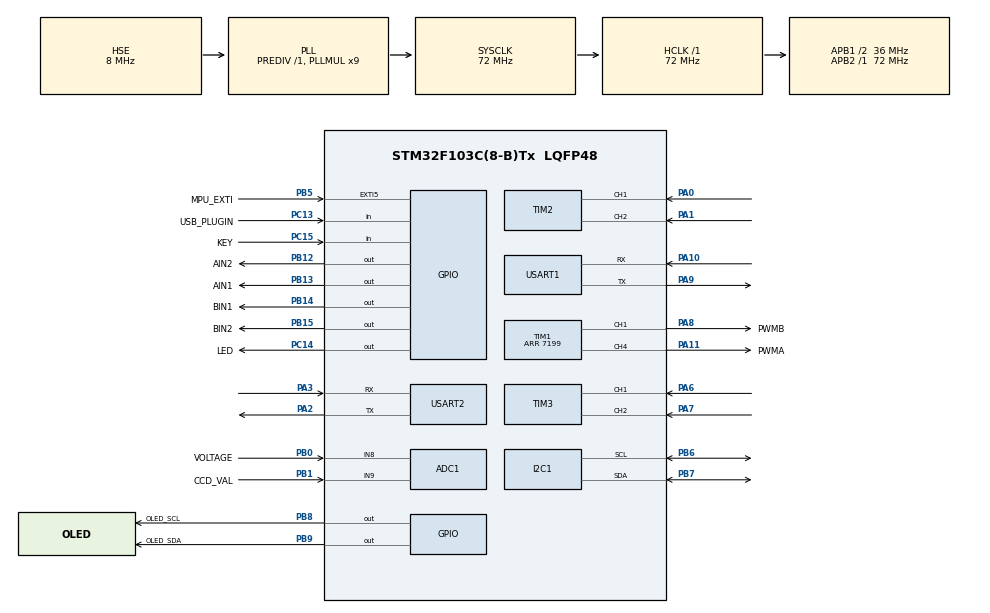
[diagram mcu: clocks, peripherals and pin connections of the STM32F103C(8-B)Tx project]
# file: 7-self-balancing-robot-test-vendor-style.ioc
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ADC1.Channel-1\#ChannelRegularConversion=ADC_CHANNEL_8
ADC1.ContinuousConvMode=ENABLE
ADC1.NbrOfConversionFlag=1
ADC1.Rank-1\#ChannelRegularConversion=1
ADC1.SamplingTime-1\#ChannelRegularConversion=ADC_SAMPLETIME_239CYCLES_5
ADC1.master=1
I2C1.I2C_Mode=I2C_Fast
Mcu.Family=STM32F1
Mcu.Name=STM32F103C(8-B)Tx
Mcu.Package=LQFP48
NVIC.EXTI9_5_IRQn=true\:2\:0\:true\:false\:true\:true\:true\:true
NVIC.PriorityGroup=NVIC_PRIORITYGROUP_4
NVIC.TIM2_IRQn=true\:3\:0\:true\:false\:true\:true\:true\:true
NVIC.TIM3_IRQn=true\:3\:0\:true\:false\:true\:true\:true\:true
PA0-WKUP.Signal=S_TIM2_CH1_ETR
PA1.Signal=S_TIM2_CH2
PA10.Mode=Asynchronous
PA10.Signal=USART1_RX
PA11.GPIO_Label=PWMA
PA11.Signal=S_TIM1_CH4
PA2.Mode=Asynchronous
PA2.Signal=USART2_TX
PA3.Mode=Asynchronous
PA3.Signal=USART2_RX
PA6.Signal=S_TIM3_CH1
PA7.Signal=S_TIM3_CH2
PA8.GPIO_Label=PWMB
PA8.Signal=S_TIM1_CH1
PA9.Mode=Asynchronous
PA9.Signal=USART1_TX
PB0.GPIO_Label=VOLTAGE
PB0.Signal=ADCx_IN8
PB1.GPIO_Label=CCD_VAL
PB1.Signal=ADCx_IN9
PB12.GPIO_Label=AIN2
PB12.GPIO_Speed=GPIO_SPEED_FREQ_MEDIUM
PB12.Signal=GPIO_Output
PB13.GPIO_Label=AIN1
PB13.GPIO_Speed=GPIO_SPEED_FREQ_MEDIUM
PB13.Signal=GPIO_Output
PB14.GPIO_Label=BIN1
PB14.GPIO_Speed=GPIO_SPEED_FREQ_MEDIUM
PB14.Signal=GPIO_Output
PB15.GPIO_Label=BIN2
PB15.GPIO_Speed=GPIO_SPEED_FREQ_MEDIUM
PB15.Signal=GPIO_Output
PB5.GPIO_Label=MPU_EXTI
PB5.GPIO_ModeDefaultEXTI=GPIO_MODE_IT_FALLING
PB5.GPIO_PuPd=GPIO_NOPULL
PB5.Signal=GPXTI5
PB6.Mode=I2C
PB6.Signal=I2C1_SCL
PB7.Mode=I2C
PB7.Signal=I2C1_SDA
PB8.GPIO_Label=OLED_SCL
PB8.GPIO_Speed=GPIO_SPEED_FREQ_HIGH
PB8.PinState=GPIO_PIN_RESET
PB8.Signal=GPIO_Output
PB9.GPIO_Label=OLED_SDA
PB9.GPIO_Speed=GPIO_SPEED_FREQ_HIGH
PB9.PinState=GPIO_PIN_RESET
PB9.Signal=GPIO_Output
PC13-TAMPER-RTC.GPIO_Label=USB_PLUGIN
PC13-TAMPER-RTC.Signal=GPIO_Input
PC14-OSC32_IN.GPIO_Label=LED
PC14-OSC32_IN.Signal=GPIO_Output
PC15-OSC32_OUT.GPIO_Label=KEY
PC15-OSC32_OUT.Signal=GPIO_Input
PD0-OSC_IN.Mode=HSE-External-Oscillator
PD0-OSC_IN.Signal=RCC_OSC_IN
PD1-OSC_OUT.Mode=HSE-External-Oscillator
PD1-OSC_OUT.Signal=RCC_OSC_OUT
ProjectManager.HeapSize=0x200
ProjectManager.StackSize=0x400
ProjectManager.TargetToolchain=STM32CubeIDE
RCC.ADCPresc=RCC_ADCPCLK2_DIV6
RCC.AHBFreq_Value=72000000
RCC.APB1CLKDivider=RCC_HCLK_DIV2
RCC.APB1Freq_Value=36000000
RCC.APB1TimFreq_Value=72000000
RCC.APB2Freq_Value=72000000
RCC.APB2TimFreq_Value=72000000
RCC.HCLKFreq_Value=72000000
RCC.PLLMUL=RCC_PLL_MUL9
RCC.PLLSourceVirtual=RCC_PLLSOURCE_HSE
RCC.SYSCLKFreq_VALUE=72000000
RCC.SYSCLKSource=RCC_SYSCLKSOURCE_PLLCLK
RCC.USBFreq_Value=72000000
SH.ADCx_IN8.0=ADC1_IN8,IN8
SH.ADCx_IN9.0=ADC1_IN9,IN9
SH.S_TIM1_CH1.0=TIM1_CH1,PWM Generation1 CH1
SH.S_TIM1_CH4.0=TIM1_CH4,PWM Generation4 CH4
SH.S_TIM2_CH1_ETR.0=TIM2_CH1,Encoder_Interface
SH.S_TIM2_CH2.0=TIM2_CH2,Encoder_Interface
SH.S_TIM3_CH1.0=TIM3_CH1,Encoder_Interface
SH.S_TIM3_CH2.0=TIM3_CH2,Encoder_Interface
TIM1.AutoReloadPreload=TIM_AUTORELOAD_PRELOAD_DISABLE
TIM1.Channel-PWM\ Generation1\ CH1=TIM_CHANNEL_1
TIM1.Channel-PWM\ Generation4\ CH4=TIM_CHANNEL_4
TIM1.Period=7199
TIM2.EncoderMode=TIM_ENCODERMODE_TI12
TIM2.IC1Filter=10
TIM2.IC2Filter=10
TIM3.EncoderMode=TIM_ENCODERMODE_TI12
TIM3.IC1Filter=10
TIM3.IC2Filter=10
USART1.VirtualMode=VM_ASYNC
USART2.VirtualMode=VM_ASYNC
VP_SYS_VS_ND.Mode=No_Debug
VP_TIM1_VS_ClockSourceINT.Mode=Internal
board=custom

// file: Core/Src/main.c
/* USER CODE BEGIN Header */
/**
  ******************************************************************************
  * @file           : main.c
  * @brief          : Main program body
  ******************************************************************************
  * @attention
  *
  * Copyright (c) 2026 STMicroelectronics.
  * All rights reserved.
  *
  * This software is licensed under terms that can be found in the LICENSE file
  * in the root directory of this software component.
  * If no LICENSE file comes with this software, it is provided AS-IS.
  *
  ******************************************************************************
  */
/* USER CODE END Header */
#include "main.h"

/* USER CODE BEGIN Includes */
#include "Hardware/robot_hal.h"
#include "Hardware/led.h"
#include "Hardware/key.h"
#include "Hardware/motor.h"
#include "Hardware/encoder.h"
#include "Hardware/adc.h"
#include "Hardware/mpu6050.h"
#include "Hardware/oled.h"
#include "Hardware/usart2.h"
#include "Hardware/control.h"
#include "Hardware/SR04.h"
#include "Hardware/PS2.h"
#include "Hardware/timer.h"
/* USER CODE END Includes */

/* USER CODE BEGIN PD */
#define DEBUG_MIRROR_TO_BLUETOOTH 1
#define BLUETOOTH_TELEMETRY 0

/* USER CODE END PD */

ADC_HandleTypeDef hadc1;

I2C_HandleTypeDef hi2c1;

TIM_HandleTypeDef htim1;
TIM_HandleTypeDef htim2;
TIM_HandleTypeDef htim3;

UART_HandleTypeDef huart1;
UART_HandleTypeDef huart2;

/* USER CODE BEGIN PV */
/* Global robot state */
float  Voltage       = 0.0f;
float  pitch = 0.0f, roll = 0.0f, yaw = 0.0f;
short  aacx = 0, aacy = 0, aacz = 0;
short  gyrox = 0, gyroy = 0, gyroz = 0;
float  SR04_Distance = 0.0f;
int    Encoder_Left = 0, Encoder_Right = 0;
int    Moto1 = 0, Moto2 = 0;
u8     CTRL_MODE = 98, Mode_Change = 0;
int    Uart_Receive = 0;
u8     TkSensor = 0;
int    PS2_LX = 0, PS2_LY = 0, PS2_RX = 0, PS2_RY = 0, PS2_KEY = 0;
u8     PS2_Plugin = 0;
/* USER CODE END PV */

void SystemClock_Config(void);
static void MX_GPIO_Init(void);
static void MX_ADC1_Init(void);
static void MX_I2C1_Init(void);
static void MX_TIM1_Init(void);
static void MX_TIM2_Init(void);
static void MX_TIM3_Init(void);
static void MX_USART2_UART_Init(void);
static void MX_USART1_UART_Init(void);

/* USER CODE BEGIN 0 */
#if BLUETOOTH_TELEMETRY
static char *append_str(char *dst, const char *src)
{
  while (*src) {
    *dst++ = *src++;
  }
  return dst;
}

static char *append_int(char *dst, int value)
{
  char tmp[16];
  int i = 0;
  unsigned int mag;

  if (value < 0) {
    *dst++ = '-';
    mag = (unsigned int)(-value);
  } else {
    mag = (unsigned int)value;
  }

  do {
    tmp[i++] = (char)('0' + (mag % 10U));
    mag /= 10U;
  } while (mag > 0U);

  while (i > 0) {
    *dst++ = tmp[--i];
  }
  return dst;
}
#endif

/* USER CODE END 0 */

int main(void)
{

  /* MCU Configuration--------------------------------------------------------*/

  /* Reset of all peripherals, Initializes the Flash interface and the Systick. */
  HAL_Init();

  /* Configure the system clock */
  SystemClock_Config();

  /* Initialize all configured peripherals */
  MX_GPIO_Init();
  MX_ADC1_Init();
  MX_I2C1_Init();
  MX_TIM1_Init();
  MX_TIM2_Init();
  MX_TIM3_Init();
  MX_USART2_UART_Init();
  MX_USART1_UART_Init();
  /* USER CODE BEGIN 2 */
  /* Enable USART interrupts for RX */
  HAL_NVIC_SetPriority(USART1_IRQn, 3, 0);
  HAL_NVIC_EnableIRQ(USART1_IRQn);
  HAL_NVIC_SetPriority(USART2_IRQn, 3, 0);
  HAL_NVIC_EnableIRQ(USART2_IRQn);

  /* Enable DWT cycle counter for delay_us() */
  CoreDebug->DEMCR |= CoreDebug_DEMCR_TRCENA_Msk;
  DWT->CYCCNT = 0;
  DWT->CTRL  |= DWT_CTRL_CYCCNTENA_Msk;

  /* Redirect printf to USART1 - fputc defined below in USER CODE 4 */

  /* Start encoder timers */
  Encoder_Start();

  /* Start TIM1 PWM channels for motor control */
  HAL_TIM_PWM_Start(&htim1, TIM_CHANNEL_1);   /* PWMA - PA8 */
  HAL_TIM_PWM_Start(&htim1, TIM_CHANNEL_4);   /* PWMB - PA11 */

  /* Calibrate and start ADC */
  Adc_Init();

  /* Initialise MPU6050 and DMP */
  MPU_Init();
  mpu_dmp_init();

  /* Motor initial state (no movement) */
  Motor_Init();

  HAL_Delay(1000);  /* Wait 1 s before enabling control interrupt */

  /* Mode-specific initialisation */
  Mode_Init();
  /* USER CODE END 2 */

  /* Infinite loop */
  while (1)
  {

    /* USER CODE BEGIN 3 */
    Bluetooth_Process();
    Bluetooth_DebugTask();

#if BLUETOOTH_TELEMETRY
    static uint32_t last_log_ms = 0;
    if ((HAL_GetTick() - last_log_ms) >= 200U) {
      char log_buf[96];
      char *p = log_buf;
      int pitch_centi = (int)(pitch * 100.0f);
      last_log_ms = HAL_GetTick();
      p = append_str(p, "mode=");
      p = append_int(p, (int)CTRL_MODE);
      p = append_str(p, " pitch_centi=");
      p = append_int(p, pitch_centi);
      p = append_str(p, " gy=");
      p = append_int(p, gyroy);
      p = append_str(p, " encL=");
      p = append_int(p, Encoder_Left);
      p = append_str(p, " encR=");
      p = append_int(p, Encoder_Right);
      p = append_str(p, " m1=");
      p = append_int(p, Moto1);
      p = append_str(p, " m2=");
      p = append_int(p, Moto2);
      p = append_str(p, "\r\n");
      *p = '\0';
      Uart2SendStr(log_buf);
    }
#endif

    if (Mode_Change) {
      Mode_Change = 0;
      Mode_Init();
    }
    oled_show();

    if (CTRL_MODE == 100) {
      PS2_LX  = PS2_AnologData(PSS_LX);
      PS2_LY  = PS2_AnologData(PSS_LY);
      PS2_RX  = PS2_AnologData(PSS_RX);
      PS2_RY  = PS2_AnologData(PSS_RY);
      PS2_KEY = PS2_DataKey();
      PS2_Plugin = (PS2_LX >= 250 && PS2_LY >= 250 && PS2_RX >= 250 && PS2_RY >= 250) ? 0 : 1;
    }
  }
  /* USER CODE END 3 */
}

void SystemClock_Config(void)
{
  RCC_OscInitTypeDef RCC_OscInitStruct = {0};
  RCC_ClkInitTypeDef RCC_ClkInitStruct = {0};
  RCC_PeriphCLKInitTypeDef PeriphClkInit = {0};

  /** Initializes the RCC Oscillators according to the specified parameters
  * in the RCC_OscInitTypeDef structure.
  */
  RCC_OscInitStruct.OscillatorType = RCC_OSCILLATORTYPE_HSE;
  RCC_OscInitStruct.HSEState = RCC_HSE_ON;
  RCC_OscInitStruct.HSEPredivValue = RCC_HSE_PREDIV_DIV1;
  RCC_OscInitStruct.HSIState = RCC_HSI_ON;
  RCC_OscInitStruct.PLL.PLLState = RCC_PLL_ON;
  RCC_OscInitStruct.PLL.PLLSource = RCC_PLLSOURCE_HSE;
  RCC_OscInitStruct.PLL.PLLMUL = RCC_PLL_MUL9;
  if (HAL_RCC_OscConfig(&RCC_OscInitStruct) != HAL_OK)
  {
    Error_Handler();
  }

  /** Initializes the CPU, AHB and APB buses clocks
  */
  RCC_ClkInitStruct.ClockType = RCC_CLOCKTYPE_HCLK|RCC_CLOCKTYPE_SYSCLK
                              |RCC_CLOCKTYPE_PCLK1|RCC_CLOCKTYPE_PCLK2;
  RCC_ClkInitStruct.SYSCLKSource = RCC_SYSCLKSOURCE_PLLCLK;
  RCC_ClkInitStruct.AHBCLKDivider = RCC_SYSCLK_DIV1;
  RCC_ClkInitStruct.APB1CLKDivider = RCC_HCLK_DIV2;
  RCC_ClkInitStruct.APB2CLKDivider = RCC_HCLK_DIV1;

  if (HAL_RCC_ClockConfig(&RCC_ClkInitStruct, FLASH_LATENCY_2) != HAL_OK)
  {
    Error_Handler();
  }
  PeriphClkInit.PeriphClockSelection = RCC_PERIPHCLK_ADC;
  PeriphClkInit.AdcClockSelection = RCC_ADCPCLK2_DIV6;
  if (HAL_RCCEx_PeriphCLKConfig(&PeriphClkInit) != HAL_OK)
  {
    Error_Handler();
  }
}

static void MX_ADC1_Init(void)
{

  ADC_ChannelConfTypeDef sConfig = {0};

  /** Common config
  */
  hadc1.Instance = ADC1;
  hadc1.Init.ScanConvMode = ADC_SCAN_DISABLE;
  hadc1.Init.ContinuousConvMode = ENABLE;
  hadc1.Init.DiscontinuousConvMode = DISABLE;
  hadc1.Init.ExternalTrigConv = ADC_SOFTWARE_START;
  hadc1.Init.DataAlign = ADC_DATAALIGN_RIGHT;
  hadc1.Init.NbrOfConversion = 1;
  if (HAL_ADC_Init(&hadc1) != HAL_OK)
  {
    Error_Handler();
  }

  /** Configure Regular Channel
  */
  sConfig.Channel = ADC_CHANNEL_8;
  sConfig.Rank = ADC_REGULAR_RANK_1;
  sConfig.SamplingTime = ADC_SAMPLETIME_239CYCLES_5;
  if (HAL_ADC_ConfigChannel(&hadc1, &sConfig) != HAL_OK)
  {
    Error_Handler();
  }

}

static void MX_I2C1_Init(void)
{

  hi2c1.Instance = I2C1;
  hi2c1.Init.ClockSpeed = 400000;
  hi2c1.Init.DutyCycle = I2C_DUTYCYCLE_2;
  hi2c1.Init.OwnAddress1 = 0;
  hi2c1.Init.AddressingMode = I2C_ADDRESSINGMODE_7BIT;
  hi2c1.Init.DualAddressMode = I2C_DUALADDRESS_DISABLE;
  hi2c1.Init.OwnAddress2 = 0;
  hi2c1.Init.GeneralCallMode = I2C_GENERALCALL_DISABLE;
  hi2c1.Init.NoStretchMode = I2C_NOSTRETCH_DISABLE;
  if (HAL_I2C_Init(&hi2c1) != HAL_OK)
  {
    Error_Handler();
  }

}

static void MX_TIM1_Init(void)
{

  TIM_ClockConfigTypeDef sClockSourceConfig = {0};
  TIM_MasterConfigTypeDef sMasterConfig = {0};
  TIM_OC_InitTypeDef sConfigOC = {0};
  TIM_BreakDeadTimeConfigTypeDef sBreakDeadTimeConfig = {0};

  htim1.Instance = TIM1;
  htim1.Init.Prescaler = 0;
  htim1.Init.CounterMode = TIM_COUNTERMODE_UP;
  htim1.Init.Period = 7199;
  htim1.Init.ClockDivision = TIM_CLOCKDIVISION_DIV1;
  htim1.Init.RepetitionCounter = 0;
  htim1.Init.AutoReloadPreload = TIM_AUTORELOAD_PRELOAD_DISABLE;
  if (HAL_TIM_Base_Init(&htim1) != HAL_OK)
  {
    Error_Handler();
  }
  sClockSourceConfig.ClockSource = TIM_CLOCKSOURCE_INTERNAL;
  if (HAL_TIM_ConfigClockSource(&htim1, &sClockSourceConfig) != HAL_OK)
  {
    Error_Handler();
  }
  if (HAL_TIM_PWM_Init(&htim1) != HAL_OK)
  {
    Error_Handler();
  }
  sMasterConfig.MasterOutputTrigger = TIM_TRGO_RESET;
  sMasterConfig.MasterSlaveMode = TIM_MASTERSLAVEMODE_DISABLE;
  if (HAL_TIMEx_MasterConfigSynchronization(&htim1, &sMasterConfig) != HAL_OK)
  {
    Error_Handler();
  }
  sConfigOC.OCMode = TIM_OCMODE_PWM1;
  sConfigOC.Pulse = 0;
  sConfigOC.OCPolarity = TIM_OCPOLARITY_HIGH;
  sConfigOC.OCNPolarity = TIM_OCNPOLARITY_HIGH;
  sConfigOC.OCFastMode = TIM_OCFAST_DISABLE;
  sConfigOC.OCIdleState = TIM_OCIDLESTATE_RESET;
  sConfigOC.OCNIdleState = TIM_OCNIDLESTATE_RESET;
  if (HAL_TIM_PWM_ConfigChannel(&htim1, &sConfigOC, TIM_CHANNEL_1) != HAL_OK)
  {
    Error_Handler();
  }
  if (HAL_TIM_PWM_ConfigChannel(&htim1, &sConfigOC, TIM_CHANNEL_4) != HAL_OK)
  {
    Error_Handler();
  }
  sBreakDeadTimeConfig.OffStateRunMode = TIM_OSSR_DISABLE;
  sBreakDeadTimeConfig.OffStateIDLEMode = TIM_OSSI_DISABLE;
  sBreakDeadTimeConfig.LockLevel = TIM_LOCKLEVEL_OFF;
  sBreakDeadTimeConfig.DeadTime = 0;
  sBreakDeadTimeConfig.BreakState = TIM_BREAK_DISABLE;
  sBreakDeadTimeConfig.BreakPolarity = TIM_BREAKPOLARITY_HIGH;
  sBreakDeadTimeConfig.AutomaticOutput = TIM_AUTOMATICOUTPUT_DISABLE;
  if (HAL_TIMEx_ConfigBreakDeadTime(&htim1, &sBreakDeadTimeConfig) != HAL_OK)
  {
    Error_Handler();
  }
  HAL_TIM_MspPostInit(&htim1);

}

static void MX_TIM2_Init(void)
{

  TIM_Encoder_InitTypeDef sConfig = {0};
  TIM_MasterConfigTypeDef sMasterConfig = {0};

  htim2.Instance = TIM2;
  htim2.Init.Prescaler = 0;
  htim2.Init.CounterMode = TIM_COUNTERMODE_UP;
  htim2.Init.Period = 65535;
  htim2.Init.ClockDivision = TIM_CLOCKDIVISION_DIV1;
  htim2.Init.AutoReloadPreload = TIM_AUTORELOAD_PRELOAD_DISABLE;
  sConfig.EncoderMode = TIM_ENCODERMODE_TI12;
  sConfig.IC1Polarity = TIM_ICPOLARITY_RISING;
  sConfig.IC1Selection = TIM_ICSELECTION_DIRECTTI;
  sConfig.IC1Prescaler = TIM_ICPSC_DIV1;
  sConfig.IC1Filter = 10;
  sConfig.IC2Polarity = TIM_ICPOLARITY_RISING;
  sConfig.IC2Selection = TIM_ICSELECTION_DIRECTTI;
  sConfig.IC2Prescaler = TIM_ICPSC_DIV1;
  sConfig.IC2Filter = 10;
  if (HAL_TIM_Encoder_Init(&htim2, &sConfig) != HAL_OK)
  {
    Error_Handler();
  }
  sMasterConfig.MasterOutputTrigger = TIM_TRGO_RESET;
  sMasterConfig.MasterSlaveMode = TIM_MASTERSLAVEMODE_DISABLE;
  if (HAL_TIMEx_MasterConfigSynchronization(&htim2, &sMasterConfig) != HAL_OK)
  {
    Error_Handler();
  }

}

static void MX_TIM3_Init(void)
{

  TIM_Encoder_InitTypeDef sConfig = {0};
  TIM_MasterConfigTypeDef sMasterConfig = {0};

  htim3.Instance = TIM3;
  htim3.Init.Prescaler = 0;
  htim3.Init.CounterMode = TIM_COUNTERMODE_UP;
  htim3.Init.Period = 65535;
  htim3.Init.ClockDivision = TIM_CLOCKDIVISION_DIV1;
  htim3.Init.AutoReloadPreload = TIM_AUTORELOAD_PRELOAD_DISABLE;
  sConfig.EncoderMode = TIM_ENCODERMODE_TI12;
  sConfig.IC1Polarity = TIM_ICPOLARITY_RISING;
  sConfig.IC1Selection = TIM_ICSELECTION_DIRECTTI;
  sConfig.IC1Prescaler = TIM_ICPSC_DIV1;
  sConfig.IC1Filter = 10;
  sConfig.IC2Polarity = TIM_ICPOLARITY_RISING;
  sConfig.IC2Selection = TIM_ICSELECTION_DIRECTTI;
  sConfig.IC2Prescaler = TIM_ICPSC_DIV1;
  sConfig.IC2Filter = 10;
  if (HAL_TIM_Encoder_Init(&htim3, &sConfig) != HAL_OK)
  {
    Error_Handler();
  }
  sMasterConfig.MasterOutputTrigger = TIM_TRGO_RESET;
  sMasterConfig.MasterSlaveMode = TIM_MASTERSLAVEMODE_DISABLE;
  if (HAL_TIMEx_MasterConfigSynchronization(&htim3, &sMasterConfig) != HAL_OK)
  {
    Error_Handler();
  }

}

static void MX_USART1_UART_Init(void)
{

  huart1.Instance = USART1;
  huart1.Init.BaudRate = 115200;
  huart1.Init.WordLength = UART_WORDLENGTH_8B;
  huart1.Init.StopBits = UART_STOPBITS_1;
  huart1.Init.Parity = UART_PARITY_NONE;
  huart1.Init.Mode = UART_MODE_TX_RX;
  huart1.Init.HwFlowCtl = UART_HWCONTROL_NONE;
  huart1.Init.OverSampling = UART_OVERSAMPLING_16;
  if (HAL_UART_Init(&huart1) != HAL_OK)
  {
    Error_Handler();
  }

}

static void MX_USART2_UART_Init(void)
{

  huart2.Instance = USART2;
  huart2.Init.BaudRate = 9600;
  huart2.Init.WordLength = UART_WORDLENGTH_8B;
  huart2.Init.StopBits = UART_STOPBITS_1;
  huart2.Init.Parity = UART_PARITY_NONE;
  huart2.Init.Mode = UART_MODE_TX_RX;
  huart2.Init.HwFlowCtl = UART_HWCONTROL_NONE;
  huart2.Init.OverSampling = UART_OVERSAMPLING_16;
  if (HAL_UART_Init(&huart2) != HAL_OK)
  {
    Error_Handler();
  }

}

static void MX_GPIO_Init(void)
{
  GPIO_InitTypeDef GPIO_InitStruct = {0};

  /* GPIO Ports Clock Enable */
  __HAL_RCC_GPIOC_CLK_ENABLE();
  __HAL_RCC_GPIOD_CLK_ENABLE();
  __HAL_RCC_GPIOA_CLK_ENABLE();
  __HAL_RCC_GPIOB_CLK_ENABLE();

  /*Configure GPIO pin Output Level */
  HAL_GPIO_WritePin(LED_GPIO_Port, LED_Pin, GPIO_PIN_RESET);

  /*Configure GPIO pin Output Level */
  HAL_GPIO_WritePin(GPIOB, AIN2_Pin|AIN1_Pin|BIN1_Pin|BIN2_Pin
                          |OLED_SCL_Pin|OLED_SDA_Pin, GPIO_PIN_RESET);

  /*Configure GPIO pins : USB_PLUGIN_Pin KEY_Pin */
  GPIO_InitStruct.Pin = USB_PLUGIN_Pin|KEY_Pin;
  GPIO_InitStruct.Mode = GPIO_MODE_INPUT;
  GPIO_InitStruct.Pull = GPIO_NOPULL;
  HAL_GPIO_Init(GPIOC, &GPIO_InitStruct);

  /*Configure GPIO pin : LED_Pin */
  GPIO_InitStruct.Pin = LED_Pin;
  GPIO_InitStruct.Mode = GPIO_MODE_OUTPUT_PP;
  GPIO_InitStruct.Pull = GPIO_NOPULL;
  GPIO_InitStruct.Speed = GPIO_SPEED_FREQ_LOW;
  HAL_GPIO_Init(LED_GPIO_Port, &GPIO_InitStruct);

  /*Configure GPIO pins : AIN2_Pin AIN1_Pin BIN1_Pin BIN2_Pin */
  GPIO_InitStruct.Pin = AIN2_Pin|AIN1_Pin|BIN1_Pin|BIN2_Pin;
  GPIO_InitStruct.Mode = GPIO_MODE_OUTPUT_PP;
  GPIO_InitStruct.Pull = GPIO_NOPULL;
  GPIO_InitStruct.Speed = GPIO_SPEED_FREQ_MEDIUM;
  HAL_GPIO_Init(GPIOB, &GPIO_InitStruct);

  /*Configure GPIO pin : MPU_EXTI_Pin */
  GPIO_InitStruct.Pin = MPU_EXTI_Pin;
  GPIO_InitStruct.Mode = GPIO_MODE_IT_FALLING;
  GPIO_InitStruct.Pull = GPIO_NOPULL;
  HAL_GPIO_Init(MPU_EXTI_GPIO_Port, &GPIO_InitStruct);

  /*Configure GPIO pins : OLED_SCL_Pin OLED_SDA_Pin */
  GPIO_InitStruct.Pin = OLED_SCL_Pin|OLED_SDA_Pin;
  GPIO_InitStruct.Mode = GPIO_MODE_OUTPUT_PP;
  GPIO_InitStruct.Pull = GPIO_NOPULL;
  GPIO_InitStruct.Speed = GPIO_SPEED_FREQ_HIGH;
  HAL_GPIO_Init(GPIOB, &GPIO_InitStruct);

  /* EXTI interrupt init*/
  HAL_NVIC_SetPriority(EXTI9_5_IRQn, 2, 0);
  HAL_NVIC_EnableIRQ(EXTI9_5_IRQn);

}

/* USER CODE BEGIN 4 */
/* Redirect printf to USART1 */
int __io_putchar(int ch)
{
  HAL_UART_Transmit(&huart1, (uint8_t *)&ch, 1, 10);
#if DEBUG_MIRROR_TO_BLUETOOTH
  HAL_UART_Transmit(&huart2, (uint8_t *)&ch, 1, 10);
#endif
  return ch;
}

/* UART2 RX complete callback - called from HAL after each received byte */
void HAL_UART_RxCpltCallback(UART_HandleTypeDef *huart)
{
  if (huart->Instance == USART2) {
    USART2_RxCallback();
  }
}

/* MPU6050 EXTI falling-edge callback (PB5) - 5 ms control loop */
void HAL_GPIO_EXTI_Callback(uint16_t GPIO_Pin)
{
  if (GPIO_Pin == MPU_EXTI_Pin) {
    MPU6050_Control_IRQ();
  }
}

/* SR04 ECHO rising-edge callback (PB11) via EXTI15_10 */
void SR04_EXTI_Callback(void)
{
  delay_us(10);
  TIM4->CNT = 0;
  HAL_TIM_Base_Start(&htim4);
  while (HAL_GPIO_ReadPin(ECHO_GPIO_Port, ECHO_Pin) == GPIO_PIN_SET);
  HAL_TIM_Base_Stop(&htim4);
  SR04_Distance = (float)(TIM4->CNT) * 1.7f;
}

/* Mode-specific peripheral initialisation */
void Mode_Init(void)
{
  OLED_Clear();
  oled_first_show();
  switch (CTRL_MODE) {
    case 97:
      SR04_Configuration();
      Timer4_Init(5000, 7199);
      break;
    case 98:
      uart2_init(9600);
      break;
    case 99:
      Tracking_Init();
      break;
    case 100:
      PS2_Init();
      PS2_SetInit();
      break;
  }
}

/* Tracking sensor GPIO init: PA4, PA5 and PB3, PB4 as pull-up inputs */
void Tracking_Init(void)
{
  GPIO_InitTypeDef GPIO_InitStruct = {0};
  __HAL_RCC_GPIOA_CLK_ENABLE();
  __HAL_RCC_GPIOB_CLK_ENABLE();

  GPIO_InitStruct.Pin  = GPIO_PIN_4 | GPIO_PIN_5;
  GPIO_InitStruct.Mode = GPIO_MODE_INPUT;
  GPIO_InitStruct.Pull = GPIO_PULLUP;
  HAL_GPIO_Init(GPIOA, &GPIO_InitStruct);

  GPIO_InitStruct.Pin  = GPIO_PIN_3 | GPIO_PIN_4;
  GPIO_InitStruct.Mode = GPIO_MODE_INPUT;
  GPIO_InitStruct.Pull = GPIO_PULLUP;
  HAL_GPIO_Init(GPIOB, &GPIO_InitStruct);
}
/* USER CODE END 4 */

void Error_Handler(void)
{
  __disable_irq();
  while (1)
  {
  }
}
